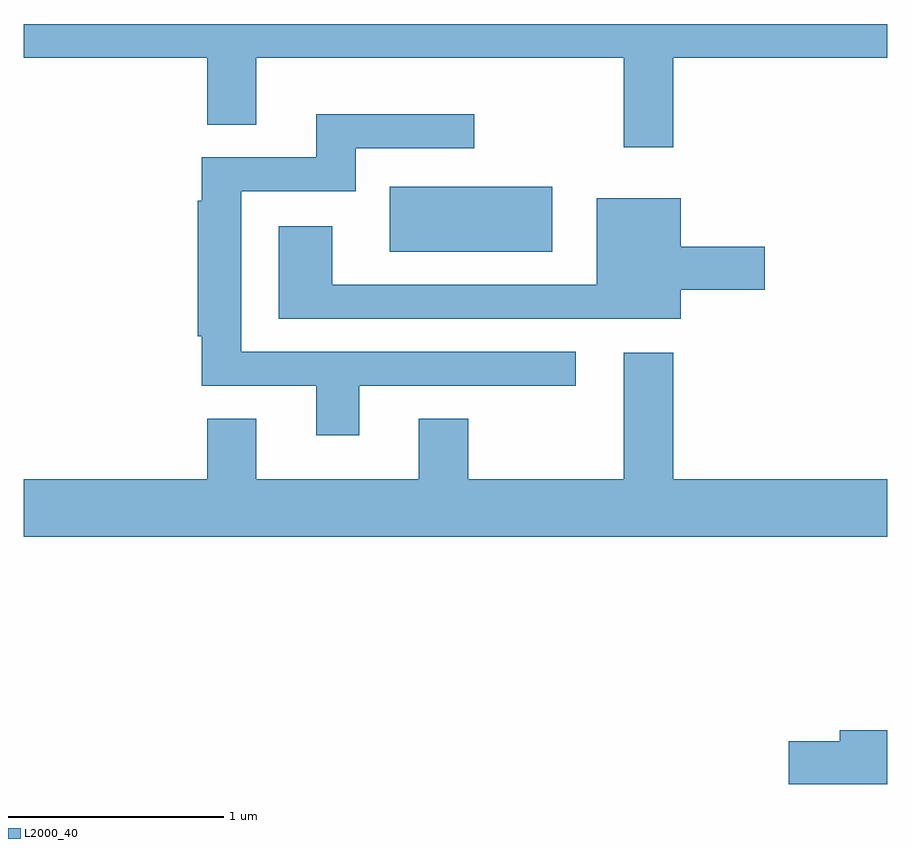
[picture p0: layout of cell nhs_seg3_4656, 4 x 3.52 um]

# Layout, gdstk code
import gdstk
lib = gdstk.Library(unit=1e-6, precision=1e-09)
def R(c, l, rs):  # rectangles x0, y0, x1, y1
    for r in rs: c.add(gdstk.rectangle(r[:2], r[2:], *l))
def P(c, l, *ps):  # polygons
    for p in ps: c.add(gdstk.Polygon(p, *l))
L2000_40 = (2000, 40)

nhs_seg3_4656 = lib.new_cell('nhs_seg3_4656')
R(nhs_seg3_4656, L2000_40, [(323.306,1182.836,324.059,1183.139)])
P(nhs_seg3_4656, L2000_40, [(324.619,1183.736),(325.611,1183.736),(325.611,1183.892),(321.611,1183.892),(321.611,1183.736),(322.461,1183.736),(322.461,1183.426),(322.689,1183.426),(322.689,1183.736),(324.391,1183.736),(324.391,1183.321),(324.619,1183.321)],
  [(323.164,1182.216),(324.168,1182.216),(324.168,1182.374),(322.619,1182.374),(322.619,1183.116),(323.149,1183.116),(323.149,1183.316),(323.698,1183.316),(323.698,1183.474),(322.966,1183.474),(322.966,1183.274),(322.436,1183.274),(322.436,1183.074),(322.416,1183.074),(322.416,1182.446),(322.436,1182.446),(322.436,1182.216),(322.966,1182.216),(322.966,1181.986),(323.164,1181.986)],
  [(324.654,1182.661),(325.044,1182.661),(325.044,1182.859),(324.654,1182.859),(324.654,1183.084),(324.266,1183.084),(324.266,1182.684),(323.039,1182.684),(323.039,1182.954),(322.791,1182.954),(322.791,1182.526),(324.654,1182.526)],
  [(325.611,1181.784),(324.619,1181.784),(324.619,1182.369),(324.391,1182.369),(324.391,1181.784),(323.669,1181.784),(323.669,1182.064),(323.441,1182.064),(323.441,1181.784),(322.689,1181.784),(322.689,1182.064),(322.461,1182.064),(322.461,1181.784),(321.611,1181.784),(321.611,1181.516),(325.611,1181.516)],
  [(325.611,1180.619),(325.391,1180.619),(325.391,1180.569),(325.156,1180.569),(325.156,1180.371),(325.611,1180.371)])

lib.write_gds('nhs_seg3_4656.gds')
